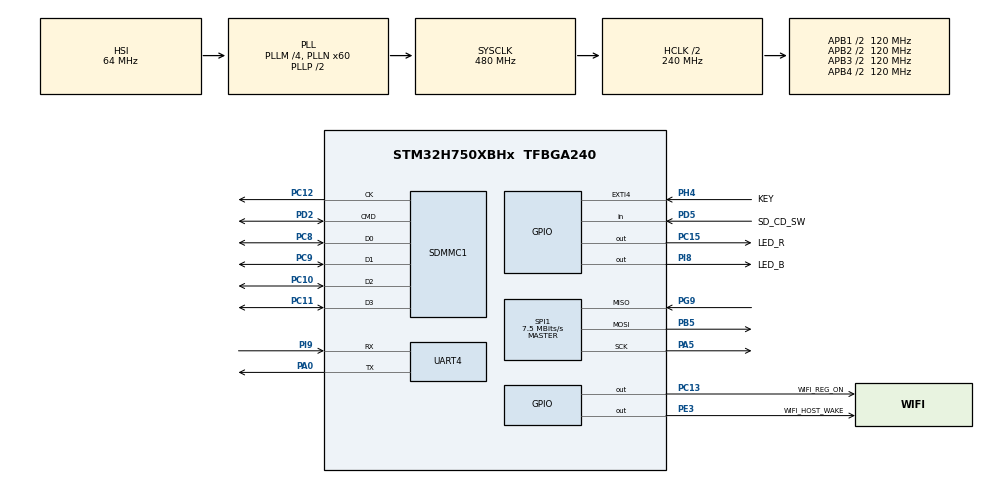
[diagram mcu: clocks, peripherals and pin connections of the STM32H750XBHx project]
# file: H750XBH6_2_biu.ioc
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CORTEX_M7.CPU_DCache=Enabled
CORTEX_M7.CPU_ICache=Enabled
Mcu.Family=STM32H7
Mcu.Name=STM32H750XBHx
Mcu.Package=TFBGA240
NVIC.EXTI4_IRQn=true\:0\:0\:false\:false\:true\:true\:true
NVIC.PriorityGroup=NVIC_PRIORITYGROUP_4
NVIC.SDMMC1_IRQn=true\:0\:0\:false\:false\:true\:true\:true
NVIC.UART4_IRQn=true\:0\:0\:false\:false\:true\:true\:true
PA0.Mode=Asynchronous
PA0.Signal=UART4_TX
PA13\ (JTMS/SWDIO).Mode=Serial_Wire
PA13\ (JTMS/SWDIO).Signal=DEBUG_JTMS-SWDIO
PA14\ (JTCK/SWCLK).Mode=Serial_Wire
PA14\ (JTCK/SWCLK).Signal=DEBUG_JTCK-SWCLK
PA4.GPIO_Label=SPI_CS
PA4.Signal=SPI1_NSS
PA5.Mode=Full_Duplex_Master
PA5.Signal=SPI1_SCK
PB14.Signal=SDMMC2_D0
PB15.Signal=SDMMC2_D1
PB3\ (JTDO/TRACESWO).Signal=SDMMC2_D2
PB4\ (NJTRST).Signal=SDMMC2_D3
PB5.Mode=Full_Duplex_Master
PB5.Signal=SPI1_MOSI
PC10.Mode=SD_4_bits_Wide_bus
PC10.Signal=SDMMC1_D2
PC11.Mode=SD_4_bits_Wide_bus
PC11.Signal=SDMMC1_D3
PC12.Mode=SD_4_bits_Wide_bus
PC12.Signal=SDMMC1_CK
PC13.GPIO_Label=WIFI_REG_ON
PC13.Signal=GPIO_Output
PC15-OSC32_OUT\ (OSC32_OUT).GPIO_Label=LED_R
PC15-OSC32_OUT\ (OSC32_OUT).Signal=GPIO_Output
PC8.Mode=SD_4_bits_Wide_bus
PC8.Signal=SDMMC1_D0
PC9.Mode=SD_4_bits_Wide_bus
PC9.Signal=SDMMC1_D1
PD2.Mode=SD_4_bits_Wide_bus
PD2.Signal=SDMMC1_CMD
PD5.GPIO_Label=SD_CD_SW
PD5.GPIO_PuPd=GPIO_PULLUP
PD5.Signal=GPIO_Input
PD6.Signal=SDMMC2_CK
PD7.Signal=SDMMC2_CMD
PE3.GPIO_Label=WIFI_HOST_WAKE
PE3.Signal=GPIO_Output
PG9.Mode=Full_Duplex_Master
PG9.Signal=SPI1_MISO
PH0-OSC_IN\ (PH0).Mode=HSE-External-Oscillator
PH0-OSC_IN\ (PH0).Signal=RCC_OSC_IN
PH1-OSC_OUT\ (PH1).Mode=HSE-External-Oscillator
PH1-OSC_OUT\ (PH1).Signal=RCC_OSC_OUT
PH4.GPIO_Label=KEY
PH4.GPIO_ModeDefaultEXTI=GPIO_MODE_IT_FALLING
PH4.Signal=GPXTI4
PI8.GPIO_Label=LED_B
PI8.Signal=GPIO_Output
PI9.Mode=Asynchronous
PI9.Signal=UART4_RX
ProjectManager.HeapSize=0x200
ProjectManager.StackSize=0x400
ProjectManager.TargetToolchain=MDK-ARM V5.27
RCC.ADCFreq_Value=129000000
RCC.APB1Freq_Value=120000000
RCC.APB2Freq_Value=120000000
RCC.APB3Freq_Value=120000000
RCC.APB4Freq_Value=120000000
RCC.CortexFreq_Value=480000000
RCC.D1PPRE=RCC_APB3_DIV2
RCC.D2PPRE1=RCC_APB1_DIV2
RCC.D2PPRE2=RCC_APB2_DIV2
RCC.D3PPRE=RCC_APB4_DIV2
RCC.DIVM1=4
RCC.DIVN1=60
RCC.HCLKFreq_Value=240000000
RCC.HPRE=RCC_HCLK_DIV2
RCC.PLL2FRACN=0
RCC.PLL3FRACN=0
RCC.PLLFRACN=0
RCC.SYSCLKFreq_VALUE=480000000
RCC.SYSCLKSource=RCC_SYSCLKSOURCE_PLLCLK
RCC.USBFreq_Value=480000000
SDMMC1.ClockDiv=4
SPI1.BaudRatePrescaler=SPI_BAUDRATEPRESCALER_64
SPI1.CalculateBaudRate=7.5 MBits/s
SPI1.Direction=SPI_DIRECTION_2LINES
SPI1.Mode=SPI_MODE_MASTER
SPI1.VirtualType=VM_MASTER
board=custom

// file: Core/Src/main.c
/* USER CODE BEGIN Header */
/**
  ******************************************************************************
  * @file           : main.c
  * @brief          : Main program body
  ******************************************************************************
  * @attention
  *
  * <h2><center>&copy; Copyright (c) 2023 STMicroelectronics.
  * All rights reserved.</center></h2>
  *
  * This software component is licensed by ST under BSD 3-Clause license,
  * the "License"; You may not use this file except in compliance with the
  * License. You may obtain a copy of the License at:
  *                        opensource.org/licenses/BSD-3-Clause
  *
  ******************************************************************************
  */
/* USER CODE END Header */
#include "main.h"
#include "sdmmc.h"
#include "spi.h"
#include "usart.h"
#include "gpio.h"

/* USER CODE BEGIN Includes */
#include <stdio.h>
#include "sdbsp.h"
/* USER CODE END Includes */

/* USER CODE BEGIN PTD */
extern SD_HandleTypeDef hsd1;
/* USER CODE END PTD */

/* USER CODE BEGIN PD */
#define	NumOf_Blocks	64
#define 	Test_BlockSize  ((BLOCKSIZE * NumOf_Blocks) >> 2)	 //定义数据大小,SD块大小为512字节，因为是32位的数组，所以这里除以4
#define	Test_Addr 	 0x00

int32_t SD_Status ; 		 //SD卡检测标志位
uint32_t SD_WriteBuffer[Test_BlockSize];	//	写数据数组
uint32_t SD_ReadBuffer[Test_BlockSize];	//	读数据数组
/* USER CODE END PD */

/* USER CODE BEGIN PV */
uint8_t SD_Test(void);
/* USER CODE END PV */

void SystemClock_Config(void);

int main(void)
{

  /* Enable I-Cache---------------------------------------------------------*/
  SCB_EnableICache();

  /* Enable D-Cache---------------------------------------------------------*/
  SCB_EnableDCache();

  /* MCU Configuration--------------------------------------------------------*/

  /* Reset of all peripherals, Initializes the Flash interface and the Systick. */
  HAL_Init();

  /* Configure the system clock */
  SystemClock_Config();

  /* Initialize all configured peripherals */
  MX_GPIO_Init();
  MX_SPI1_Init();
  MX_UART4_Init();
  MX_SDMMC1_SD_Init();
  /* USER CODE BEGIN 2 */
  HAL_Delay(10);

//  show_sdcard_info(hsd1);
//    SD_Test();
  /* USER CODE END 2 */

  /* Infinite loop */
  while (1)
  {

    /* USER CODE BEGIN 3 */
      HAL_GPIO_TogglePin(LED_B_GPIO_Port,LED_B_Pin);
      HAL_Delay(100);

  }
  /* USER CODE END 3 */
}

void SystemClock_Config(void)
{
  RCC_OscInitTypeDef RCC_OscInitStruct = {0};
  RCC_ClkInitTypeDef RCC_ClkInitStruct = {0};
  RCC_PeriphCLKInitTypeDef PeriphClkInitStruct = {0};

  /** Supply configuration update enable
  */
  HAL_PWREx_ConfigSupply(PWR_LDO_SUPPLY);
  /** Configure the main internal regulator output voltage
  */
  __HAL_PWR_VOLTAGESCALING_CONFIG(PWR_REGULATOR_VOLTAGE_SCALE0);

  while(!__HAL_PWR_GET_FLAG(PWR_FLAG_VOSRDY)) {}
  /** Initializes the RCC Oscillators according to the specified parameters
  * in the RCC_OscInitTypeDef structure.
  */
  RCC_OscInitStruct.OscillatorType = RCC_OSCILLATORTYPE_HSI;
  RCC_OscInitStruct.HSIState = RCC_HSI_DIV1;
  RCC_OscInitStruct.HSICalibrationValue = RCC_HSICALIBRATION_DEFAULT;
  RCC_OscInitStruct.PLL.PLLState = RCC_PLL_ON;
  RCC_OscInitStruct.PLL.PLLSource = RCC_PLLSOURCE_HSI;
  RCC_OscInitStruct.PLL.PLLM = 4;
  RCC_OscInitStruct.PLL.PLLN = 60;
  RCC_OscInitStruct.PLL.PLLP = 2;
  RCC_OscInitStruct.PLL.PLLQ = 4;
  RCC_OscInitStruct.PLL.PLLR = 2;
  RCC_OscInitStruct.PLL.PLLRGE = RCC_PLL1VCIRANGE_3;
  RCC_OscInitStruct.PLL.PLLVCOSEL = RCC_PLL1VCOWIDE;
  RCC_OscInitStruct.PLL.PLLFRACN = 0;
  if (HAL_RCC_OscConfig(&RCC_OscInitStruct) != HAL_OK)
  {
    Error_Handler();
  }
  /** Initializes the CPU, AHB and APB buses clocks
  */
  RCC_ClkInitStruct.ClockType = RCC_CLOCKTYPE_HCLK|RCC_CLOCKTYPE_SYSCLK
                              |RCC_CLOCKTYPE_PCLK1|RCC_CLOCKTYPE_PCLK2
                              |RCC_CLOCKTYPE_D3PCLK1|RCC_CLOCKTYPE_D1PCLK1;
  RCC_ClkInitStruct.SYSCLKSource = RCC_SYSCLKSOURCE_PLLCLK;
  RCC_ClkInitStruct.SYSCLKDivider = RCC_SYSCLK_DIV1;
  RCC_ClkInitStruct.AHBCLKDivider = RCC_HCLK_DIV2;
  RCC_ClkInitStruct.APB3CLKDivider = RCC_APB3_DIV2;
  RCC_ClkInitStruct.APB1CLKDivider = RCC_APB1_DIV2;
  RCC_ClkInitStruct.APB2CLKDivider = RCC_APB2_DIV2;
  RCC_ClkInitStruct.APB4CLKDivider = RCC_APB4_DIV2;

  if (HAL_RCC_ClockConfig(&RCC_ClkInitStruct, FLASH_LATENCY_4) != HAL_OK)
  {
    Error_Handler();
  }
  PeriphClkInitStruct.PeriphClockSelection = RCC_PERIPHCLK_UART4|RCC_PERIPHCLK_SPI1
                              |RCC_PERIPHCLK_SDMMC;
  PeriphClkInitStruct.SdmmcClockSelection = RCC_SDMMCCLKSOURCE_PLL;
  PeriphClkInitStruct.Spi123ClockSelection = RCC_SPI123CLKSOURCE_PLL;
  PeriphClkInitStruct.Usart234578ClockSelection = RCC_USART234578CLKSOURCE_D2PCLK1;
  if (HAL_RCCEx_PeriphCLKConfig(&PeriphClkInitStruct) != HAL_OK)
  {
    Error_Handler();
  }
}

/* USER CODE BEGIN 4 */
uint8_t SD_Test(void)
{
	uint32_t i = 0;
	uint32_t ExecutionTime_Begin;		// 开始时间
	uint32_t ExecutionTime_End;		// 结束时间
	uint32_t ExecutionTime;				// 执行时间
	float    ExecutionSpeed;			// 执行速度

// 擦除 >>>>>>>

//	ExecutionTime_Begin 	= HAL_GetTick();	// 获取 systick 当前时间，单位ms
//	SD_Status = HAL_SD_Erase(&hsd1,Test_Addr, Test_Addr+NumOf_Blocks);
//	while(HAL_SD_GetCardState(&hsd1) != HAL_SD_CARD_TRANSFER);	//等待通信结束
//	ExecutionTime_End		= HAL_GetTick();	// 获取 systick 当前时间，单位ms
//
//	ExecutionTime = ExecutionTime_End - ExecutionTime_Begin; // 计算擦除时间，单位ms
//
//	if( SD_Status == HAL_SD_ERROR_NONE )
//	{
//		printf ("\r\n 擦除成功, 擦除所需时间: %d ms\r\n",ExecutionTime);
//	}
//	else
//	{
//		printf ("\r\n 擦除失败!!!!!  错误代码:%d\r\n",SD_Status);
//		while (1);
//	}
//
// 写入 >>>>>>>
//	for(i=0;i<Test_BlockSize;i++)	//将要写入SD卡的数据写入数组
//	{
//		SD_WriteBuffer[i] = i;
//	}
//
//	ExecutionTime_Begin 	= HAL_GetTick();	// 获取 systick 当前时间，单位ms
//	SD_Status = HAL_SD_WriteBlocks(&hsd1,(uint8_t *)SD_WriteBuffer, Test_Addr, NumOf_Blocks,NumOf_Blocks*100);	//块写入
//	while(HAL_SD_GetCardState(&hsd1) != HAL_SD_CARD_TRANSFER);	//等待通信结束
//	ExecutionTime_End		= HAL_GetTick();	// 获取 systick 当前时间，单位ms
//
//	ExecutionTime  = ExecutionTime_End - ExecutionTime_Begin; 		// 计算擦除时间，单位ms
//	ExecutionSpeed = (float)BLOCKSIZE * NumOf_Blocks / ExecutionTime /1024 ; // 计算写入速度，单位 MB/S
//	if( SD_Status == HAL_SD_ERROR_NONE )
//	{
//		printf ("\r\n写入成功,数据大小：%d KB, 耗时: %d ms, 写入速度：%.2f MB/s\r\n",BLOCKSIZE * NumOf_Blocks/1024,ExecutionTime,ExecutionSpeed);
//	}
//	else
//	{
//		printf ("\r\n写入错误!!!!!  错误代码:%d\r\n",SD_Status);
//		while (1);
//	}
//

// 读取 >>>>>>>
	ExecutionTime_Begin 	= HAL_GetTick();	// 获取 systick 当前时间，单位ms
	SD_Status = HAL_SD_ReadBlocks(&hsd1,(uint8_t*)SD_ReadBuffer, Test_Addr, NumOf_Blocks,NumOf_Blocks*100);	//块读取
	while(HAL_SD_GetCardState(&hsd1) != HAL_SD_CARD_TRANSFER);	//等待通信结束
	ExecutionTime_End		= HAL_GetTick();	// 获取 systick 当前时间，单位ms

	ExecutionTime  = ExecutionTime_End - ExecutionTime_Begin; 						// 计算擦除时间，单位ms
	ExecutionSpeed = (float)BLOCKSIZE * NumOf_Blocks / ExecutionTime / 1024 ; 	// 计算读取速度，单位 MB/S

	if( SD_Status == HAL_SD_ERROR_NONE )
	{
		printf ("\r\n读取成功,数据大小：%d KB, 耗时: %d ms, 读取速度：%.2f MB/s \r\n",BLOCKSIZE * NumOf_Blocks/1024,ExecutionTime,ExecutionSpeed);
	}
	else
	{
		printf ("\r\n读取错误!!!!!  错误代码:%d\r\n",SD_Status);
		while (1);
	}

// 校验 >>>>>>>
	for(i=0;i<Test_BlockSize;i++)	//验证读出的数据是否等于写入的数据
	{
		if( SD_WriteBuffer[i] != SD_ReadBuffer[i] )	//如果数据不相等，则返回0
		{
			printf ("\r\n数据校验失败!!!!!\r\n");
			while(1);
		}
	}
	printf ("\r\n校验通过!!!!!SD卡测试正常\r\n");
	return HAL_SD_ERROR_NONE; 	//数据正确，读写测试通过
}
/* USER CODE END 4 */

void Error_Handler(void)
{
  __disable_irq();
  while (1)
  {
  }
}

/************************ (C) COPYRIGHT STMicroelectronics *****END OF FILE****/
